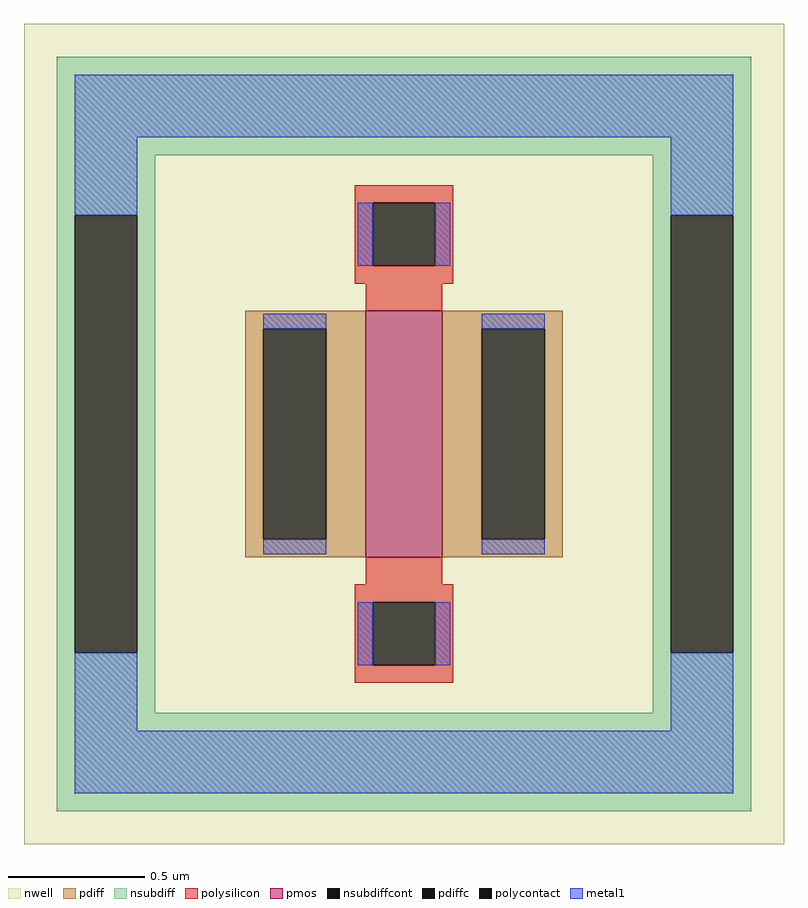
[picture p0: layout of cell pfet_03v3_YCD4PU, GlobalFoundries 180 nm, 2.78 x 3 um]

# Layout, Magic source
magic
tech gf180mcuD
magscale 1 10
<< nwell >>
rect -278 -300 278 300
<< pmos >>
rect -28 -90 28 90
<< pdiff >>
rect -116 77 -28 90
rect -116 -77 -103 77
rect -57 -77 -28 77
rect -116 -90 -28 -77
rect 28 77 116 90
rect 28 -77 57 77
rect 103 -77 116 77
rect 28 -90 116 -77
<< pdiffc >>
rect -103 -77 -57 77
rect 57 -77 103 77
<< nsubdiff >>
rect -254 204 254 276
rect -254 160 -182 204
rect -254 -160 -241 160
rect -195 -160 -182 160
rect 182 160 254 204
rect -254 -204 -182 -160
rect 182 -160 195 160
rect 241 -160 254 160
rect 182 -204 254 -160
rect -254 -276 254 -204
<< nsubdiffcont >>
rect -241 -160 -195 160
rect 195 -160 241 160
<< polysilicon >>
rect -36 169 36 182
rect -36 123 -23 169
rect 23 123 36 169
rect -36 110 36 123
rect -28 90 28 110
rect -28 -110 28 -90
rect -36 -123 36 -110
rect -36 -169 -23 -123
rect 23 -169 36 -123
rect -36 -182 36 -169
<< polycontact >>
rect -23 123 23 169
rect -23 -169 23 -123
<< metal1 >>
rect -241 217 241 263
rect -241 160 -195 217
rect -34 123 -23 169
rect 23 123 34 169
rect 195 160 241 217
rect -103 77 -57 88
rect -103 -88 -57 -77
rect 57 77 103 88
rect 57 -88 103 -77
rect -241 -217 -195 -160
rect -34 -169 -23 -123
rect 23 -169 34 -123
rect 195 -217 241 -160
rect -241 -263 241 -217
<< properties >>
string FIXED_BBOX -218 -240 218 240
string gencell pfet_03v3
string library gf180mcu
string parameters w 0.9 l 0.28 m 1 nf 1 diffcov 100 polycov 100 guard 1 glc 1 grc 1 gtc 0 gbc 0 tbcov 100 rlcov 100 topc 1 botc 1 poverlap 0 doverlap 1 lmin 0.28 wmin 0.22 class mosfet full_metal 1 compatible {pfet_03v3 pfet_05v0 pfet_06v0} ad {int((nf+1)/2) * W/nf * 0.18u} as {int((nf+2)/2) * W/nf * 0.18u} pd {2*int((nf+1)/2) * (W/nf + 0.18u)} ps {2*int((nf+2)/2) * (W/nf + 0.18u)} nrd {0.18u / W} nrs {0.18u / W} sa 0 sb 0 sd 0
<< end >>
